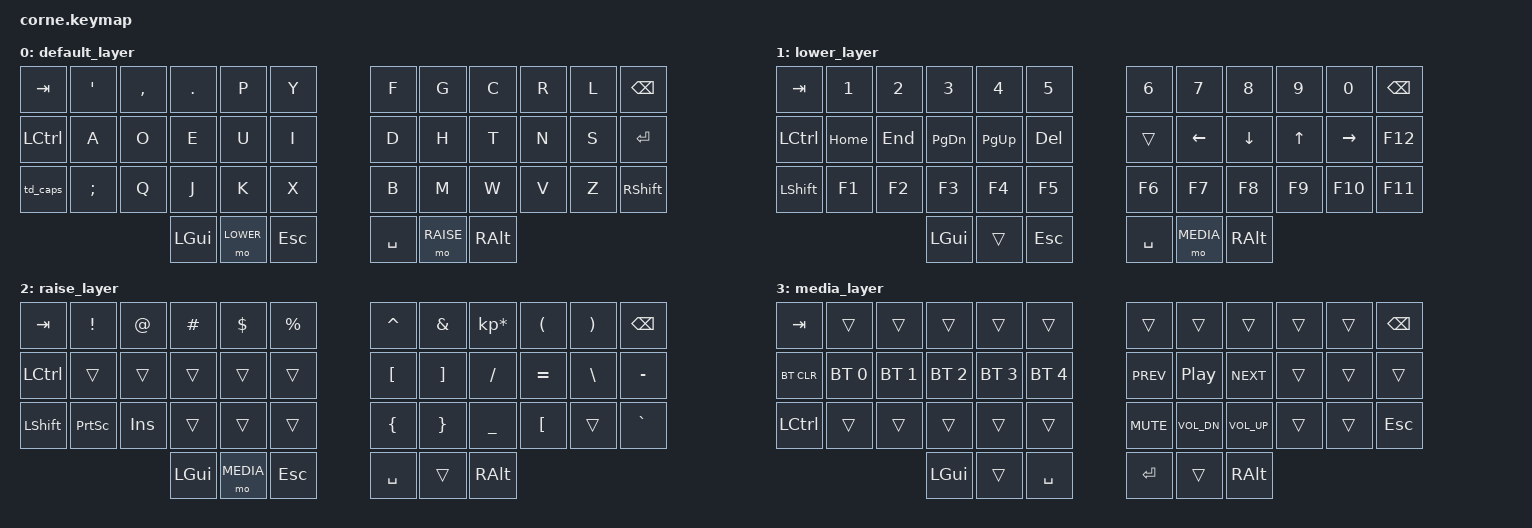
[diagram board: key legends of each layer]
/*
 * Copyright (c) 2020 The ZMK Contributors
 *
 * SPDX-License-Identifier: MIT
 */

#include <behaviors.dtsi>
#include <dt-bindings/zmk/keys.h>
#include <dt-bindings/zmk/bt.h>
#include <dt-bindings/zmk/outputs.h>
#include <dt-bindings/zmk/ext_power.h>

#define BASE 0
#define LOWER 1
#define RAISE 2
#define MEDIA 3

// This is ok if only a single sticky key is used.
// Create new behavior if multiple &sk is used.
&sk {
  quick-release;
};

/ {
  behaviors {
td_caps: tap_dance_caps {
           compatible = "zmk,behavior-tap-dance";
#binding-cells = <0>;
           tapping-term-ms = <200>;
           bindings = <&sk LSHFT>, <&kp CAPSLOCK>;
         };

  };

  keymap {
    compatible = "zmk,keymap";

    default_layer {
      // -----------------------------------------------------------------------------------------
      // |  TAB |  '"  |  ,<  |  .>  |  p  |  y  |   |  f  |  g   |  c  |  r  |  l  | BKSP |
      // | CTRL |  a  |  o  |  e  |  u  |  i  |   |  d  |  h   |  t  |  n  |  s  |  ENT   |
      // | SHFT |  ;:  |  q  |  j  |  k  |  x  |   | b  |  m   |  w  |  v  |  z  | shift  |
      //                    | GUI | LWR | ESC |   | spc | RSE  | ALT GR |
      bindings = <
        &kp TAB   &kp SQT &kp COMMA &kp DOT &kp P &kp Y   &kp F &kp G  &kp C     &kp R   &kp L    &kp BSPC
        &kp LCTRL &kp A &kp O &kp E &kp U &kp I   &kp D &kp H  &kp T     &kp N   &kp S &kp RET
        &td_caps &kp SEMI &kp Q &kp J &kp K &kp X   &kp B &kp M  &kp W &kp V &kp Z &kp RSHIFT
        &kp LGUI &mo LOWER &kp ESC   &kp SPACE &mo RAISE &kp RALT
        >;
    };

    lower_layer {

      // -----------------------------------------------------------------------------------------
      // |  TAB |  1  |  2  |  3  |  4  |  5  |   |  6  |  7  |  8  |  9  |  0  | BKSP |
      // | BTCLR| HOME | END | PG_DN | PG_UP | DEL |   | LFT | DWN |  UP | RGT |     |      |
      // | SHFT |     |     |     |     |     |   |     |     |     |     |     |      |
      //                    | GUI |     | SPC |   | ENT |     | ALT |
      bindings = <
        &kp TAB    &kp N1       &kp N2       &kp N3       &kp N4       &kp N5         &kp N6   &kp N7   &kp N8 &kp N9    &kp N0 &kp BSPC
        &kp LCTRL &kp HOME &kp END &kp PG_DN &kp PG_UP &kp DEL   &trans &kp LEFT &kp DOWN &kp UP &kp RIGHT &kp F12 
        &kp LSHFT  &kp F1       &kp F2       &kp F3       &kp F4       &kp F5         &kp F6   &kp F7   &kp F8 &kp F9    &kp F10 &kp F11
        &kp LGUI     &trans       &kp ESC      &kp SPACE  &mo MEDIA   &kp RALT
        >;
    };

    raise_layer {

      // -----------------------------------------------------------------------------------------
      // |  TAB |  !  |  @  |  #  |  $  |  %  |   |  ^  |  &  |  *  |  (  |  )  | BKSP |
      // | CTRL |     |     |     |     |     |   |  -  |  =  |  [  |  ]  |  \  |  `   |
      // | SHFT |     |     |     |     |     |   |  _  |  +  |  {  |  }  | "|" |  ~   |
      //                    | GUI |     | SPC |   | ENT |     | ALT |
      bindings = <
        &kp  TAB  &kp EXCL &kp AT &kp HASH &kp DLLR &kp PRCNT   &kp CARET &kp AMPS  &kp KP_MULTIPLY &kp LPAR &kp RPAR &kp BSPC
        &kp LCTRL &trans   &trans &trans   &trans   &trans      &kp LBKT  &kp RBKT &kp FSLH &kp EQUAL  &kp BSLH &kp MINUS
        &kp LSHFT &kp PSCRN   &kp INS &trans   &trans   &trans      &kp LBRC        &kp RBRC &kp UNDER &kp LBKT   &trans  &kp GRAVE
        &kp LGUI &mo MEDIA   &kp ESC   &kp SPACE   &trans    &kp RALT
        >;
    };

    media_layer {
      // +------------------------------------------------------------------------------------+
      // |   TAB |     |     |     |     |     |         |     |     |     |     |     | BSPC |
      // |BT CLR | BT1 | BT2 | BT3 | BT4 | BT5 |         | PREV|> || | NEXT|     |     |      |
      // |  CTLR |PW ON|PWOFF|     |     |     |         | MUTE| VOL-| VOL+|     |     |  ESC |
      //                        | GUI |     | SPC |  | ENT |     | ALT |
      // +------------------------------------------------------------------------------------+
      bindings = <
        &kp TAB    &trans            &trans              &trans       &trans       &trans       &trans     &trans       &trans       &trans &trans &kp BSPC
        &bt BT_CLR &bt BT_SEL 0      &bt BT_SEL 1        &bt BT_SEL 2 &bt BT_SEL 3 &bt BT_SEL 4 &kp C_PREV &kp C_PP     &kp C_NEXT   &trans &trans &trans
        &kp LCTRL  &trans  &trans   &trans       &trans       &trans       &kp C_MUTE &kp C_VOL_DN &kp C_VOL_UP &trans &trans &kp ESC
        &kp LGUI     &trans       &kp SPACE      &kp RET  &trans   &kp RALT
        >;
    };


  };
};
